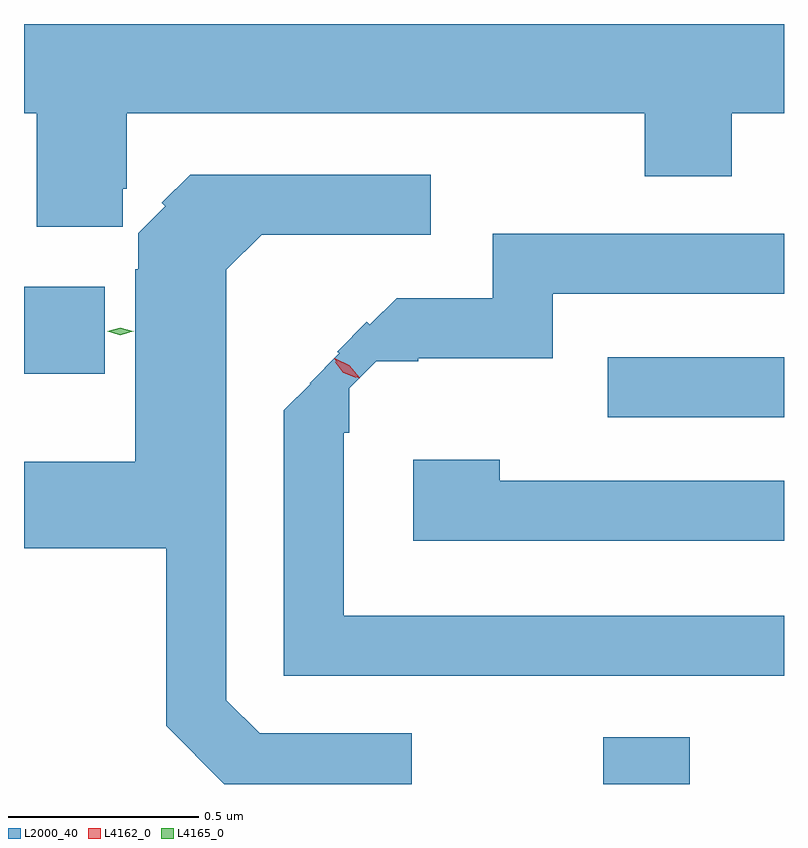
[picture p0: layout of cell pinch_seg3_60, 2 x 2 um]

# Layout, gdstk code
import gdstk
lib = gdstk.Library(unit=1e-6, precision=1e-09)
def R(c, l, rs):  # rectangles x0, y0, x1, y1
    for r in rs: c.add(gdstk.rectangle(r[:2], r[2:], *l))
def P(c, l, *ps):  # polygons
    for p in ps: c.add(gdstk.Polygon(p, *l))
L2000_40 = (2000, 40)
L4162_0 = (4162, 0)
L4165_0 = (4165, 0)

pinch_seg3_60 = lib.new_cell('pinch_seg3_60')
R(pinch_seg3_60, L2000_40, [(1140.921,1181.971,1141.149,1182.094), (1140.933,1182.936,1141.397,1183.094), (1139.397,1183.051,1139.61,1183.279)])
P(pinch_seg3_60, L2000_40, [(1139.657,1183.537),(1139.667,1183.537),(1139.667,1183.736),(1141.031,1183.736),(1141.031,1183.571),(1141.259,1183.571),(1141.259,1183.736),(1141.397,1183.736),(1141.397,1183.971),(1139.397,1183.971),(1139.397,1183.736),(1139.431,1183.736),(1139.431,1183.437),(1139.657,1183.437)],
  [(1140.418,1182.104),(1140.017,1182.104),(1139.929,1182.192),(1139.929,1183.324),(1140.022,1183.416),(1140.468,1183.416),(1140.468,1183.574),(1139.834,1183.574),(1139.76,1183.5),(1139.769,1183.491),(1139.698,1183.42),(1139.698,1183.326),(1139.69,1183.326),(1139.69,1182.819),(1139.397,1182.819),(1139.397,1182.591),(1139.771,1182.591),(1139.771,1182.124),(1139.924,1181.971),(1140.418,1181.971)],
  [(1141.397,1182.414),(1140.239,1182.414),(1140.239,1182.895),(1140.253,1182.895),(1140.253,1183.013),(1140.324,1183.084),(1140.435,1183.084),(1140.435,1183.091),(1140.789,1183.091),(1140.789,1183.261),(1141.397,1183.261),(1141.397,1183.419),(1140.631,1183.419),(1140.631,1183.249),(1140.378,1183.249),(1140.307,1183.179),(1140.299,1183.187),(1140.221,1183.109),(1140.227,1183.104),(1140.149,1183.026),(1140.151,1183.024),(1140.081,1182.955),(1140.081,1182.256),(1141.397,1182.256)],
  [(1141.397,1182.769),(1140.649,1182.769),(1140.649,1182.824),(1140.421,1182.824),(1140.421,1182.611),(1141.397,1182.611)])
P(pinch_seg3_60, L4162_0, [(1140.279,1183.039),(1140.241,1183.057),(1140.214,1183.09),(1140.214,1183.091),(1140.215,1183.091),(1140.253,1183.073),(1140.28,1183.04),(1140.28,1183.039)],
  [(1140.27,1183.04),(1140.237,1183.053),(1140.216,1183.081),(1140.216,1183.082),(1140.216,1183.082),(1140.25,1183.068),(1140.271,1183.04),(1140.271,1183.04)])
P(pinch_seg3_60, L4165_0, [(1139.65,1183.152),(1139.616,1183.162),(1139.615,1183.162),(1139.616,1183.163),(1139.65,1183.172),(1139.685,1183.163),(1139.686,1183.162),(1139.685,1183.162)],
  [(1139.65,1183.152),(1139.618,1183.162),(1139.617,1183.162),(1139.618,1183.163),(1139.65,1183.172),(1139.683,1183.163),(1139.684,1183.162),(1139.683,1183.162)])

lib.write_gds('pinch_seg3_60.gds')
